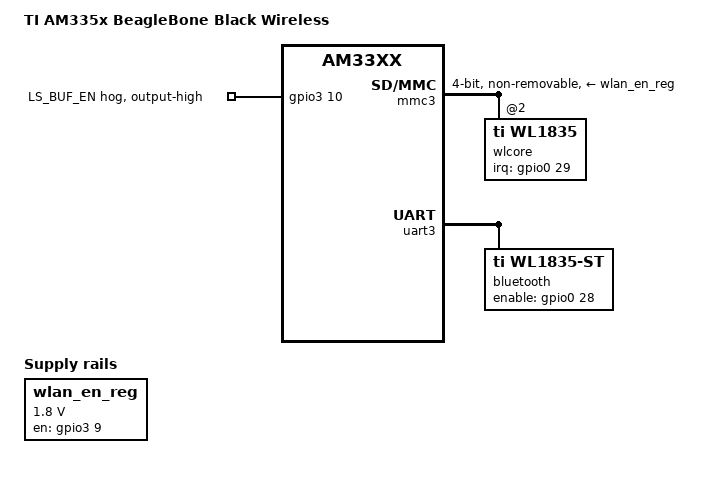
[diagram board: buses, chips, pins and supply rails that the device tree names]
// SPDX-License-Identifier: GPL-2.0-only
/*
 * Copyright (C) 2012 Texas Instruments Incorporated - https://www.ti.com/
 */
/dts-v1/;

#include "am33xx.dtsi"
#include "am335x-bone-common.dtsi"
#include "am335x-boneblack-common.dtsi"
#include "am335x-boneblack-hdmi.dtsi"
#include <dt-bindings/interrupt-controller/irq.h>

/ {
	model = "TI AM335x BeagleBone Black Wireless";
	compatible = "ti,am335x-bone-black-wireless", "ti,am335x-bone-black", "ti,am335x-bone", "ti,am33xx";

	wlan_en_reg: fixedregulator@2 {
		compatible = "regulator-fixed";
		regulator-name = "wlan-en-regulator";
		regulator-min-microvolt = <1800000>;
		regulator-max-microvolt = <1800000>;
		startup-delay-us= <70000>;

		/* WL_EN */
		gpio = <&gpio3 9 0>;
		enable-active-high;
	};
};

&am33xx_pinmux {
	bt_pins: pinmux_bt_pins {
		pinctrl-single,pins = <
			AM33XX_PADCONF(AM335X_PIN_MII1_TXD0, PIN_OUTPUT_PULLUP, MUX_MODE7)	/* gmii1_txd0.gpio0_28 - BT_EN */
		>;
	};

	mmc3_pins: pinmux_mmc3_pins {
		pinctrl-single,pins = <
			AM33XX_PADCONF(AM335X_PIN_MII1_RXD1, PIN_INPUT_PULLUP, MUX_MODE6 ) /* (L15) gmii1_rxd1.mmc2_clk */
			AM33XX_PADCONF(AM335X_PIN_MII1_TX_EN, PIN_INPUT_PULLUP, MUX_MODE6 ) /* (J16) gmii1_txen.mmc2_cmd */
			AM33XX_PADCONF(AM335X_PIN_MII1_RX_DV, PIN_INPUT_PULLUP, MUX_MODE5 ) /* (J17) gmii1_rxdv.mmc2_dat0 */
			AM33XX_PADCONF(AM335X_PIN_MII1_TXD3, PIN_INPUT_PULLUP, MUX_MODE5 ) /* (J18) gmii1_txd3.mmc2_dat1 */
			AM33XX_PADCONF(AM335X_PIN_MII1_TXD2, PIN_INPUT_PULLUP, MUX_MODE5 ) /* (K15) gmii1_txd2.mmc2_dat2 */
			AM33XX_PADCONF(AM335X_PIN_MII1_COL, PIN_INPUT_PULLUP, MUX_MODE5 ) /* (H16) gmii1_col.mmc2_dat3 */
		>;
	};

	uart3_pins: pinmux_uart3_pins {
		pinctrl-single,pins = <
			AM33XX_PADCONF(AM335X_PIN_MII1_RXD3, PIN_INPUT_PULLUP, MUX_MODE1)	/* gmii1_rxd3.uart3_rxd */
			AM33XX_PADCONF(AM335X_PIN_MII1_RXD2, PIN_OUTPUT_PULLDOWN, MUX_MODE1)	/* gmii1_rxd2.uart3_txd */
			AM33XX_PADCONF(AM335X_PIN_MDIO, PIN_INPUT, MUX_MODE3)		/* mdio_data.uart3_ctsn */
			AM33XX_PADCONF(AM335X_PIN_MDC, PIN_OUTPUT_PULLDOWN, MUX_MODE3)	/* mdio_clk.uart3_rtsn */
		>;
	};

	wl18xx_pins: pinmux_wl18xx_pins {
		pinctrl-single,pins = <
			AM33XX_PADCONF(AM335X_PIN_MII1_TX_CLK, PIN_OUTPUT_PULLDOWN, MUX_MODE7)	/* gmii1_txclk.gpio3_9 WL_EN */
			AM33XX_PADCONF(AM335X_PIN_RMII1_REF_CLK, PIN_INPUT_PULLDOWN, MUX_MODE7)	/* rmii1_refclk.gpio0_29 WL_IRQ */
			AM33XX_PADCONF(AM335X_PIN_MII1_RX_CLK, PIN_OUTPUT_PULLUP, MUX_MODE7)	/* gmii1_rxclk.gpio3_10 LS_BUF_EN */
		>;
	};
};

&mac_sw {
	status = "disabled";
};

&mmc3 {
	dmas = <&edma_xbar 12 0 1
		&edma_xbar 13 0 2>;
	dma-names = "tx", "rx";
	status = "okay";
	vmmc-supply = <&wlan_en_reg>;
	bus-width = <4>;
	non-removable;
	cap-power-off-card;
	keep-power-in-suspend;
	pinctrl-names = "default";
	pinctrl-0 = <&mmc3_pins &wl18xx_pins>;

	#address-cells = <1>;
	#size-cells = <0>;
	wlcore: wlcore@2 {
		compatible = "ti,wl1835";
		reg = <2>;
		interrupt-parent = <&gpio0>;
		interrupts = <29 IRQ_TYPE_EDGE_RISING>;
	};
};

&uart3 {
	pinctrl-names = "default";
	pinctrl-0 = <&uart3_pins &bt_pins>;
	status = "okay";

	bluetooth {
		compatible = "ti,wl1835-st";
		enable-gpios = <&gpio0 28 GPIO_ACTIVE_HIGH>;
	};
};

&gpio3 {
	ls-buf-en-hog {
		gpio-hog;
		gpios = <10 GPIO_ACTIVE_HIGH>;
		output-high;
		line-name = "LS_BUF_EN";
	};
};
